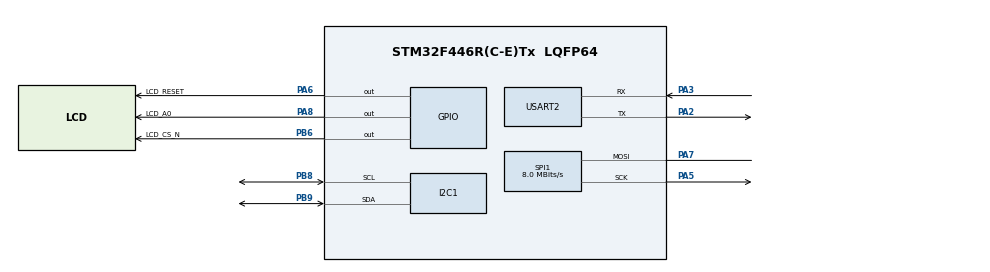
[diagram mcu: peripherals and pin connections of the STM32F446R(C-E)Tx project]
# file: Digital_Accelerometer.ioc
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Mcu.Family=STM32F4
Mcu.Name=STM32F446R(C-E)Tx
Mcu.Package=LQFP64
NVIC.PriorityGroup=NVIC_PRIORITYGROUP_4
NVIC.TIM7_IRQn=true\:0\:0\:false\:false\:true\:true\:true\:true
PA2.Mode=Asynchronous
PA2.Signal=USART2_TX
PA3.Mode=Asynchronous
PA3.Signal=USART2_RX
PA5.Mode=Simplex_Bidirectional_Master
PA5.Signal=SPI1_SCK
PA6.GPIO_Label=LCD_RESET
PA6.Signal=GPIO_Output
PA7.Mode=Simplex_Bidirectional_Master
PA7.Signal=SPI1_MOSI
PA8.GPIO_Label=LCD_A0
PA8.Signal=GPIO_Output
PB6.GPIO_Label=LCD_CS_N
PB6.Signal=GPIO_Output
PB8.Mode=I2C
PB8.Signal=I2C1_SCL
PB9.Mode=I2C
PB9.Signal=I2C1_SDA
ProjectManager.HeapSize=0x200
ProjectManager.StackSize=0x400
ProjectManager.TargetToolchain=STM32CubeIDE
RCC.CortexFreq_Value=16000000
RCC.USBFreq_Value=96000000
RCC.VCOOutputFreq_Value=192000000
SPI1.CalculateBaudRate=8.0 MBits/s
SPI1.Direction=SPI_DIRECTION_1LINE
SPI1.Mode=SPI_MODE_MASTER
SPI1.VirtualType=VM_MASTER
TIM7.AutoReloadPreload=TIM_AUTORELOAD_PRELOAD_ENABLE
TIM7.Period=9999
TIM7.Prescaler=1599
USART2.VirtualMode=VM_ASYNC
VP_TIM7_VS_ClockSourceINT.Mode=Enable_Timer
board=custom

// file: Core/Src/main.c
/* USER CODE BEGIN Header */
/**
 ******************************************************************************
 * @file           : main.c
 * @brief          : Main program body
 ******************************************************************************
 * @attention
 *
 * Copyright (c) 2024 STMicroelectronics.
 * All rights reserved.
 *
 * This software is licensed under terms that can be found in the LICENSE file
 * in the root directory of this software component.
 * If no LICENSE file comes with this software, it is provided AS-IS.
 *
 ******************************************************************************
 */
/* USER CODE END Header */
#include "main.h"
#include "i2c.h"
#include "spi.h"
#include "tim.h"
#include "usart.h"
#include "gpio.h"

/* USER CODE BEGIN Includes */
#include "mma7660fc.h"
#include "lcd_driver.h"
#include "stdio.h"
#include "math.h"

/* USER CODE END Includes */

/* USER CODE BEGIN PD */
#define MAX_LINES 4
#define LINE_HEIGHT 8
/* USER CODE END PD */

/* USER CODE BEGIN PV */
int doUpdate = 0;
int yPosition = 4;  //initial Vertical Position
char lcdBuffer[MAX_LINES][38]; // Buffer to hold the last few lines of text
int currentLine = 0; // Track the current line position

/* USER CODE END PV */

void SystemClock_Config(void);
/* USER CODE BEGIN PFP */
int _write(int fd, char*ptr, int len); // Lets redirect to printf for ease in application
void updateLCD(void);
void displayWelcome();

/* USER CODE END PFP */

int main(void)
{

	/* MCU Configuration--------------------------------------------------------*/

	/* Reset of all peripherals, Initializes the Flash interface and the Systick. */
	HAL_Init();

	/* Configure the system clock */
	SystemClock_Config();

	/* Initialize all configured peripherals */
	MX_GPIO_Init();
	MX_SPI1_Init();
	MX_TIM7_Init();
	MX_USART2_UART_Init();
	MX_I2C1_Init();
	/* USER CODE BEGIN 2 */
	displayWelcome();

	// Initialize the LCD
	lcd_init();
	lcd_clear();

	lcd_setLine(127, 0, 127, 31, 1);
	lcd_setLine(0, 0, 0, 31, 1);
	lcd_setString(4, 3, " System Initialization Test ", LCD_FONT_8, false);
	lcd_setString(4, 15, " I2C connection Done", LCD_FONT_8, false);
	lcd_setString(4, 25, "Accelerometer connection Done", LCD_FONT_8, false);
	lcd_show();
	HAL_Delay(2500);
	lcd_clear();

	// Start the Timer
	HAL_TIM_Base_Start_IT(&htim7);
	mma7660_init(&hi2c1);
	void mma7660_SetResolution(float _RANGE_1_5G);

	/* USER CODE END 2 */

	/* Infinite loop */
	/* USER CODE BEGIN WHILE */
	while (1)
	{
		if (doUpdate) {
			doUpdate = 0; // Reset the flag
			updateLCD();  // Update the LCD with new data
			HAL_Delay(200); // Adjust as necessary
		}
		/* USER CODE END WHILE */

	}
}

void SystemClock_Config(void)
{
	RCC_OscInitTypeDef RCC_OscInitStruct = {0};
	RCC_ClkInitTypeDef RCC_ClkInitStruct = {0};

	/** Configure the main internal regulator output voltage
	 */
	__HAL_RCC_PWR_CLK_ENABLE();
	__HAL_PWR_VOLTAGESCALING_CONFIG(PWR_REGULATOR_VOLTAGE_SCALE3);

	/** Initializes the RCC Oscillators according to the specified parameters
	 * in the RCC_OscInitTypeDef structure.
	 */
	RCC_OscInitStruct.OscillatorType = RCC_OSCILLATORTYPE_HSI;
	RCC_OscInitStruct.HSIState = RCC_HSI_ON;
	RCC_OscInitStruct.HSICalibrationValue = RCC_HSICALIBRATION_DEFAULT;
	RCC_OscInitStruct.PLL.PLLState = RCC_PLL_NONE;
	if (HAL_RCC_OscConfig(&RCC_OscInitStruct) != HAL_OK)
	{
		Error_Handler();
	}

	/** Initializes the CPU, AHB and APB buses clocks
	 */
	RCC_ClkInitStruct.ClockType = RCC_CLOCKTYPE_HCLK|RCC_CLOCKTYPE_SYSCLK
			|RCC_CLOCKTYPE_PCLK1|RCC_CLOCKTYPE_PCLK2;
	RCC_ClkInitStruct.SYSCLKSource = RCC_SYSCLKSOURCE_HSI;
	RCC_ClkInitStruct.AHBCLKDivider = RCC_SYSCLK_DIV1;
	RCC_ClkInitStruct.APB1CLKDivider = RCC_HCLK_DIV1;
	RCC_ClkInitStruct.APB2CLKDivider = RCC_HCLK_DIV1;

	if (HAL_RCC_ClockConfig(&RCC_ClkInitStruct, FLASH_LATENCY_0) != HAL_OK)
	{
		Error_Handler();
	}
}

/* USER CODE BEGIN 4 */
int _write(int fd, char *ptr, int len)
{
	if(HAL_UART_Transmit(&huart2, (uint8_t *)ptr, len, HAL_MAX_DELAY)==HAL_OK)
	{
		return len;
	}
	else
		return -1;
}

// NOTE: Carriage return "\r" helps for nice console output
void displayWelcome()
{
	puts("******** System Initialization Test ******** \r\n");
	puts("- Uart connection ... Done\r\n");
	puts("- printf retargeting to uart ... Done\r\n");
	puts("- Accelerometer connection ... Done\r\n");
	puts("***************************** \r\n");
}

void HAL_TIM_PeriodElapsedCallback(TIM_HandleTypeDef *htim)
{
	doUpdate = 1;
}

void updateLCD(void) {
    // Read acceleration values
    float x, y, z;
    mma7660_ReadAcceleration(&hi2c1, &x, &y, &z);

    // Determine the axis with the largest magnitude
    char highlightX = (fabs(x) >= fabs(y) && fabs(x) >= fabs(z)) ? '>' : ' ';
    char highlightY = (fabs(y) > fabs(x) && fabs(y) >= fabs(z)) ? '>' : ' ';
    char highlightZ = (fabs(z) > fabs(x) && fabs(z) > fabs(y)) ? '>' : ' ';

    // Format each axis for its respective line
    char xLine[20], yLine[20], zLine[20];
    snprintf(xLine, sizeof(xLine), "%c X: %.2f g", highlightX, x);
    snprintf(yLine, sizeof(yLine), "%c Y: %.2f g", highlightY, y);
    snprintf(zLine, sizeof(zLine), "%c Z: %.2f g", highlightZ, z);

    // Redraw the screen with updated values
    lcd_clear();
    lcd_setString(0, 0, xLine, LCD_FONT_8, false);
    lcd_setString(0, LINE_HEIGHT, yLine, LCD_FONT_8, false);
    lcd_setString(0, 2 * LINE_HEIGHT, zLine, LCD_FONT_8, false);
    lcd_show();

    HAL_Delay(500);  // Wait 1 second before next update
}

/* USER CODE END 4 */

void Error_Handler(void)
{
	__disable_irq();
	while (1)
	{
	}
}
